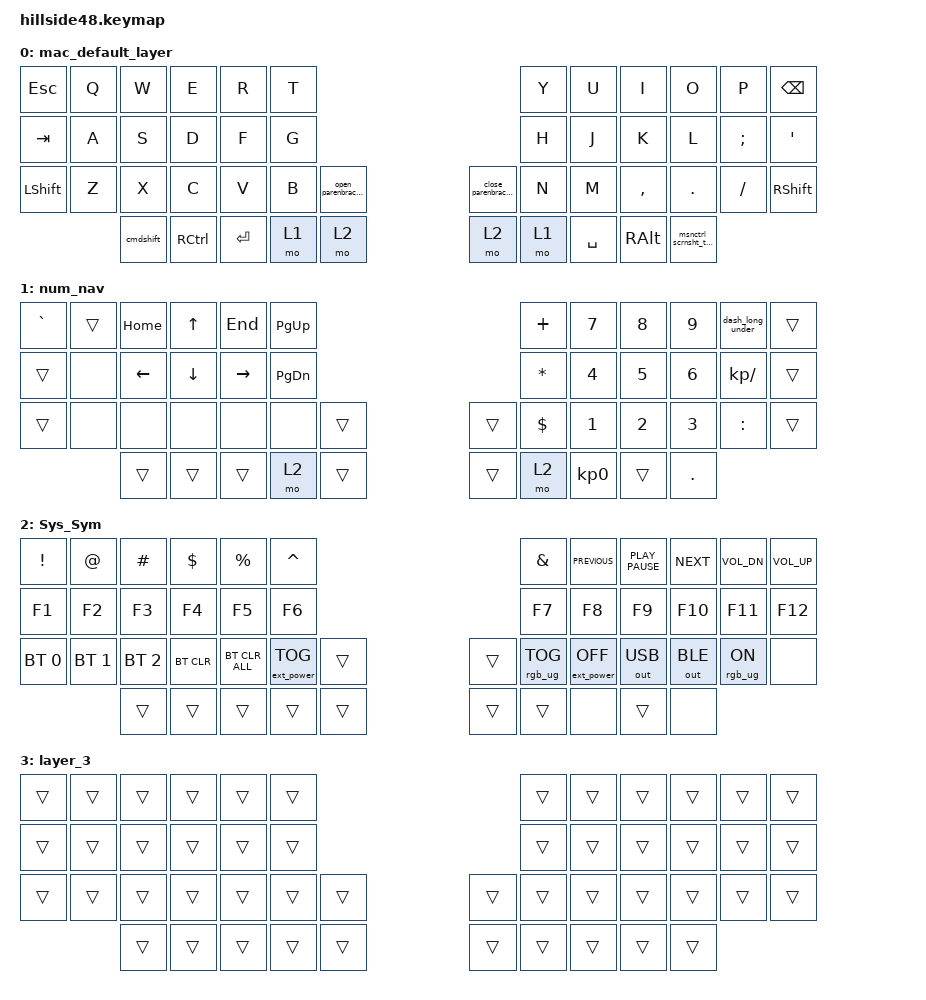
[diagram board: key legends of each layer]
/*
 * Copyright (c) 2022 The ZMK Contributors
 *
 * SPDX-License-Identifier: MIT
 */

#define HOST_OS 2

#include "../zmk-nodefree-config-main/helper.h"
#include <behaviors.dtsi>
#include <dt-bindings/zmk/bt.h>
#include <dt-bindings/zmk/ext_power.h>
#include <dt-bindings/zmk/keys.h>
#include <dt-bindings/zmk/outputs.h>
#include <dt-bindings/zmk/rgb.h>

#define QWERTY_L 0
#define DVORAK_L 1
#define COLEMK_L 2
#define MAC_Q_L  3
#define SYM_L    4
#define NUM_L    5
#define ADJ_L    6
#define Undo   LC(Z)
#define Cut    LC(X)
#define Copy   LC(C)
#define Paste  LC(V)

ZMK_UNICODE_SINGLE(em_dash, N2, N0, N1, N4)

/{

    behaviors {
        open_parenbrackcurl: open_parenbrackcurl {
            compatible = "zmk,behavior-tap-dance";
            label = "OPEN_PARENBRACKCURL";
            #binding-cells = <0>;
            tapping-term-ms = <300>;
            bindings =
                <&kp LEFT_PARENTHESIS>,
                <&kp LEFT_BRACKET>,
                <&kp LEFT_BRACE>;
        };

        close_parenbrackcurl: close_parenbrackcurl {
            compatible = "zmk,behavior-tap-dance";
            label = "CLOSE_PARENBRACKCURL";
            #binding-cells = <0>;
            tapping-term-ms = <300>;
            bindings =
                <&kp RIGHT_PARENTHESIS>,
                <&kp RIGHT_BRACKET>,
                <&kp RIGHT_BRACE>;
        };

        atexclaimhash: atexclaimhash {
            compatible = "zmk,behavior-tap-dance";
            label = "ATEXCLAIMHASH";
            #binding-cells = <0>;
            tapping-term-ms = <300>;
            bindings = <&kp EXCLAMATION>, <&kp AT>, <&kp HASH>;
        };

        DollarPercentAmpersand: DollarPercentAmpersand {
            compatible = "zmk,behavior-tap-dance";
            label = "DOLLARPERCENTAMPERSAND";
            #binding-cells = <0>;
            tapping-term-ms = <300>;
            bindings = <&kp DOLLAR>, <&kp PERCENT>, <&kp AMPERSAND>;
        };

        Unduredu: Unduredu {
            compatible = "zmk,behavior-tap-dance";
            label = "UNDUREDU";
            #binding-cells = <0>;
            tapping-term-ms = <300>;
            bindings = <&kp C_AC_UNDO>, <&kp C_AC_REDO>;
        };

        cmdshift: cmdshift {
            compatible = "zmk,behavior-tap-dance";
            label = "CMDSHIFT";
            #binding-cells = <0>;
            bindings = <&kp LEFT_COMMAND>, <&kp LG(LEFT_SHIFT)>;
        };

        ctrl_shift: ctrl_shift {
            compatible = "zmk,behavior-tap-dance";
            label = "CTRL_SHIFT";
            #binding-cells = <0>;
            bindings = <&kp LEFT_CONTROL>, <&kp LC(LEFT_SHIFT)>;
        };

        msnctrl_scrnsht_tskmgr: msnctrl_scrnsht_tskmgr {
            compatible = "zmk,behavior-tap-dance";
            label = "MSNCTRL_SCRNSHT_TSKMGR";
            #binding-cells = <0>;
            tapping-term-ms = <300>;
            bindings =
                <&kp LG(UP_ARROW)>,
                <&kp RG(RS(NUMBER_2))>,
                <&kp LC(LS(ESCAPE))>;
        };

        dash_long_under: dash_long_under {
            compatible = "zmk,behavior-tap-dance";
            label = "DASH_LONG_UNDER";
            #binding-cells = <0>;
            tapping-term-ms = <300>;
            bindings = <&kp MINUS>, <&kp UNDERSCORE>, <&em_dash>;
        };
    };

    combos {
        compatible = "zmk,combos";

        Equals {
            bindings = <&kp EQUAL>;
            key-positions = <20 15>;
        };

        OutlookTaskOnenote {
            bindings = <&kp LC(RS(N5))>;
            key-positions = <3 8>;
        };

        togglenumnav {
            bindings = <&tog 1>;
            key-positions = <41 44>;
        };

        Delete {
            bindings = <&kp DELETE>;
            key-positions = <0 11>;
        };

        mute {
            bindings = <&kp K_MUTE>;
            key-positions = <11 10>;
        };
    };

    keymap {
        compatible = "zmk,keymap";

        mac_default_layer {
            /* MAC_QWERTY
 * -------------------------------------------------------------------------------------------------------------------------------------
 * | `     |   Q   |   W   |   E   |   R   |   T   |-----------------------------------|   Y   |   U   |   I   |   O   |   P   | BKSPC |
 * | TAB   |   A   |   S   |   D   |   F   |   G   |-----------------------------------|   H   |   J   |   K   |   L   |   ;   | ENTER |
 * | SHIFT |   Z   |   X   |   C   |   V   |   B   | ALT   |-------------------|  ESC  |   N   |   M   |   ,   |   .   |   /   | SHIFT |
 * ----------------| CAPS  |-------|  CTRL |  CMD  | SPACE |  Sym  |---|  Num  | SPACE |  ALT  |   '   |-------|Play/P |----------------
 */

            bindings = <
&kp ESC    &kp Q  &kp W      &kp E  &kp R        &kp T                                                                 &kp Y      &kp U          &kp I      &kp O                    &kp P      &kp BSPC
&kp TAB    &kp A  &kp S      &kp D  &kp F        &kp G                                                                 &kp H      &kp J          &kp K      &kp L                    &kp SEMI   &kp SINGLE_QUOTE
&kp LSHFT  &kp Z  &kp X      &kp C  &kp V        &kp B      &open_parenbrackcurl                &close_parenbrackcurl  &kp N      &kp M          &kp COMMA  &kp DOT                  &kp SLASH  &kp RIGHT_SHIFT
                  &cmdshift         &kp RCTRL  &kp ENTER  &mo 1                 &mo 2  &mo 2  &mo 1                  &kp SPACE  &kp RIGHT_ALT             &msnctrl_scrnsht_tskmgr
            >;
        };

        num_nav {
            /* SYM
 * -------------------------------------------------------------------------------------------------------------------------------------
 * | HOME  |   !   |   @   |   #   |   $   |   %   |-----------------------------------|   ^   |   &   |   *   |   (   |   )   | BSPC  |
 * | END   |  GUI  |  Alt  | Ctrl  | Shift | Pg Up |-----------------------------------|   -   |   =   |   [   |   ]   |   \   | ENTER |
 * | Shift |  UnDo |  Cut  | Copy  | Paste | Pg Dn |OsAltGr|-------------------| MENU  |   _   |   +   |   {   |   }   |   |   | SHIFT |
 * ----------------|       |-------|       |       |       |       |---| ADJ_L |       |       |       |-------| CTRL  |----------------
 */

            bindings = <
&kp GRAVE  &trans  &kp HOME  &kp UP_ARROW    &kp END          &kp PAGE_UP                                    &kp PLUS         &kp NUMBER_7  &kp NUMBER_8  &kp NUMBER_9  &dash_long_under     &trans
&trans     &none   &kp LEFT  &kp DOWN_ARROW  &kp RIGHT_ARROW  &kp PAGE_DOWN                                  &kp STAR         &kp NUMBER_4  &kp NUMBER_5  &kp NUMBER_6  &kp KP_DIVIDE  &trans
&trans     &none   &none     &none           &none            &none          &trans                  &trans  &kp DOLLAR       &kp NUMBER_1  &kp NUMBER_2  &kp NUMBER_3  &kp COLON      &trans
                   &trans                    &trans           &trans         &mo 2   &trans  &trans  &mo 2   &kp KP_NUMBER_0  &trans                      &kp DOT
            >;
        };

        Sys_Sym {
            /* NUM
 * -------------------------------------------------------------------------------------------------------------------------------------
 * | F1    |  F2   | Home  |  Up   |  End  |  F9   |-----------------------------------|   /   |   7   |   8   |   9   |   -   | BSPC  |
 * | F3    |  F4   | Left  | Down  | Right |  F10  |-----------------------------------|   *   |   4   |   5   |   6   |   +   | ENTER |
 * | Shift |  F5   |  F6   |  F7   |  F8   |  F11  |  F12  |-------------------| MUTE  |   ,   |   1   |   2   |   3   |   =   | DELETE|
 * ----------------|       |-------|       |       |       | ADJ_L |---|       |       |   0   |       |-------|Play/P |----------------
 */

            bindings = <
&kp EXCLAMATION  &kp AT_SIGN   &kp HASH      &kp DOLLAR  &kp PERCENT     &kp CARET                                          &kp AMPERSAND    &kp K_PREVIOUS     &kp K_PLAY_PAUSE  &kp K_NEXT    &kp C_VOL_DN    &kp C_VOLUME_UP
&kp F1           &kp F2        &kp F3        &kp F4      &kp F5          &kp F6                                             &kp F7           &kp F8             &kp F9            &kp F10       &kp F11         &kp F12
&bt BT_SEL 0     &bt BT_SEL 1  &bt BT_SEL 2  &bt BT_CLR  &bt BT_CLR_ALL  &ext_power EP_TOG  &trans                  &trans  &rgb_ug RGB_TOG  &ext_power EP_OFF  &out OUT_USB      &out OUT_BLE  &rgb_ug RGB_ON  &none
                               &trans                    &trans          &trans             &trans  &trans  &trans  &trans  &none            &trans                               &none
            >;
        };

        layer_3 {
            bindings = <
&trans  &trans  &trans  &trans  &trans  &trans                                  &trans  &trans  &trans  &trans  &trans  &trans
&trans  &trans  &trans  &trans  &trans  &trans                                  &trans  &trans  &trans  &trans  &trans  &trans
&trans  &trans  &trans  &trans  &trans  &trans  &trans                  &trans  &trans  &trans  &trans  &trans  &trans  &trans
                &trans          &trans  &trans  &trans  &trans  &trans  &trans  &trans  &trans          &trans
            >;
        };
    };
};
